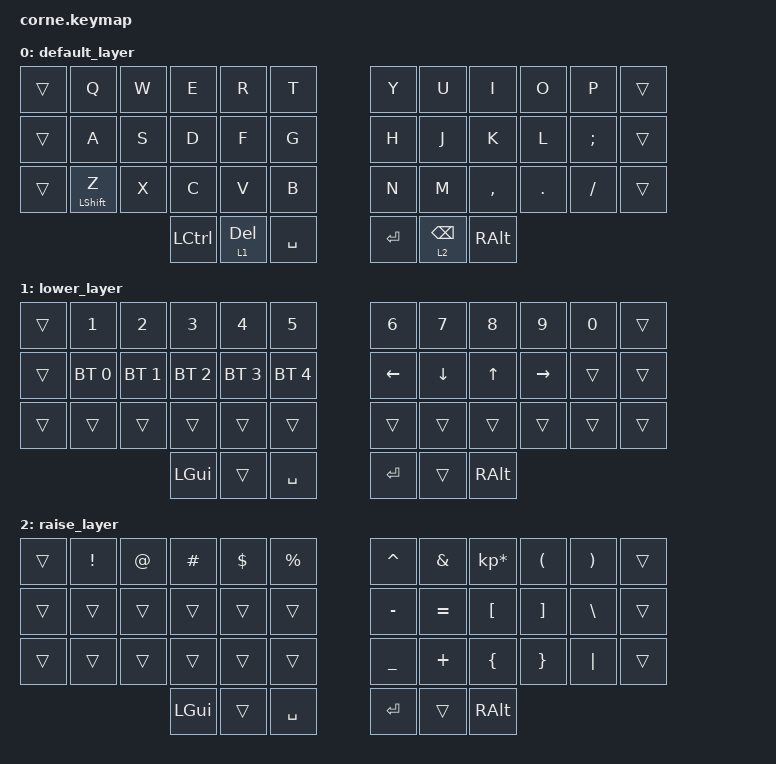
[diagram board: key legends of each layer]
/*
 * Copyright (c) 2020 The ZMK Contributors
 *
 * SPDX-License-Identifier: MIT
 */

#include <behaviors.dtsi>
#include <dt-bindings/zmk/keys.h>
#include <dt-bindings/zmk/bt.h>

/ {
        &mt {
            retro-tap;
        };
        keymap {
                compatible = "zmk,keymap";

                default_layer {
// -----------------------------------------------------------------------------------------
// |  _ |  Q  |  W  |  E  |  R  |  T  |   |  Y  |  U   |  I  |  O  |  P  | _ |
// |  _ |  A  |  S  |  D  |  F  |  G  |   |  H  |  J   |  K  |  L  |  ;  | _ |
// |  _ |  Z  |  X  |  C  |  V  |  B  |   |  N  |  M   |  ,  |  .  |  /  | _ |
//                    | GUI | LWR | SPC |   | ENT | RSE  | ALT |
                        bindings = <
   &trans &kp     Q      &kp W &kp E &kp R &kp T   &kp Y &kp U  &kp I     &kp O   &kp P    &trans
   &trans &kp     A      &kp S &kp D &kp F &kp G   &kp H &kp J  &kp K     &kp L   &kp SEMI &trans
   &trans &mt LSHFT Z    &kp X &kp C &kp V &kp B   &kp N &kp M  &kp COMMA &kp DOT &kp FSLH &trans
                  &kp LCTRL &lt 1 DEL &kp SPACE   &kp RET &lt 2 BSPC &kp RALT
                        >;
                };
                lower_layer {
// -----------------------------------------------------------------------------------------
// |   _ |  1  |  2  |  3  |  4  |  5  |   |  6  |  7  |  8  |  9  |  0  | BKSP |
// |   _ | BT1 | BT2 | BT3 | BT4 | BT5 |   | LFT | DWN |  UP | RGT |     |      |
// |   _ |     |     |     |     |     |   |     |     |     |     |     |      |
//                    | GUI |     | SPC |   | ENT |     | ALT |
                        bindings = <
   &trans &kp N1       &kp N2       &kp N3       &kp N4       &kp N5         &kp N6   &kp N7   &kp N8 &kp N9    &kp N0 &trans
   &trans &bt BT_SEL 0 &bt BT_SEL 1 &bt BT_SEL 2 &bt BT_SEL 3 &bt BT_SEL 4   &kp LEFT &kp DOWN &kp UP &kp RIGHT &trans &trans
   &trans &trans       &trans       &trans       &trans       &trans         &trans   &trans   &trans &trans    &trans &trans
                                    &kp LGUI     &trans       &kp SPACE      &kp RET  &trans   &kp RALT
                        >;
                };

                raise_layer {
// -----------------------------------------------------------------------------------------
// | _ |  !  |  @  |  #  |  $  |  %  |   |  ^  |  &  |  *  |  (  |  )  | _ |
// | _ |     |     |     |     |     |   |  -  |  =  |  [  |  ]  |  \  | _ |
// | _ |     |     |     |     |     |   |  _  |  +  |  {  |  }  | "|" | _ |
//                    | GUI |     | SPC |   | ENT |     | ALT |
                        bindings = <
   &trans &kp EXCL &kp AT &kp HASH &kp DLLR &kp PRCNT   &kp CARET &kp AMPS  &kp KP_MULTIPLY &kp LPAR &kp RPAR &trans
   &trans &trans   &trans &trans   &trans   &trans      &kp MINUS &kp EQUAL &kp LBKT        &kp RBKT &kp BSLH &trans
   &trans &trans   &trans &trans   &trans   &trans      &kp UNDER &kp PLUS  &kp LBRC        &kp RBRC &kp PIPE &trans
                             &kp LGUI &trans   &kp SPACE   &kp RET   &trans    &kp RALT
                        >;
                };
        };
};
